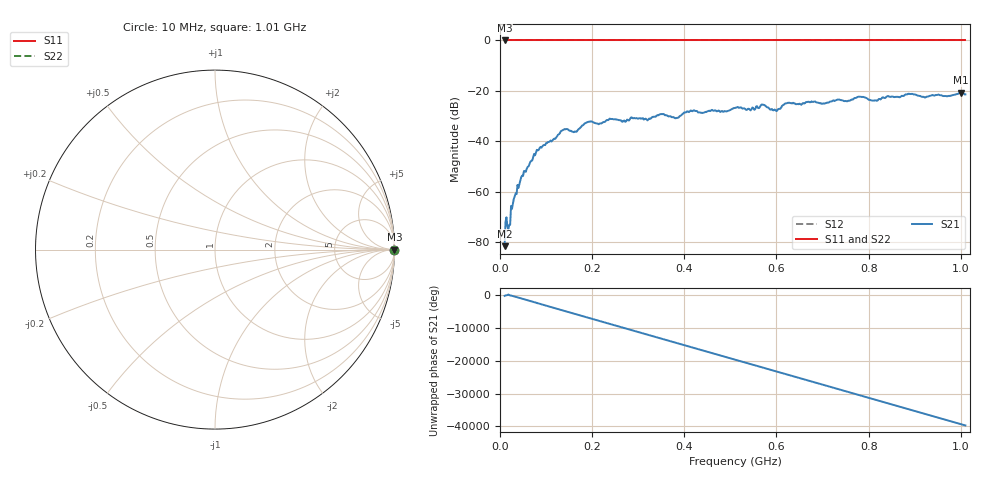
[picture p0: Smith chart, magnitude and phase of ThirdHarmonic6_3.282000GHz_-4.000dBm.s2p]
! 8/17/2025 10:10:55 AM
! C:\ANRITSUVNA\TEMP\TEMP.S2P
! CHANNEL.1
! TR.MEASUREMENT
! RAW.DATA
! RF.CORRECTION.OFF
! AVERAGING.OFF
! IF.BANDWIDTH: 5KHZ
! SWEEPTYPE:  FREQ.SWEEP(Linear)
! Reference Plane Port Info
! PORT:  PORT1  PORT2
! DISTANCE:  0  m  0  m
! TIME:  0  s  0  s
! PHASE.OFFSET:  0  deg.  0  deg.
! LOSS:  0  dB  0  dB
! REF.LOSS:  0  dB  0  dB
! REF.FREQ:  0  Hz  0  Hz
! Power Info
! POWER:  -20  dBm  -20  dBm
! EFF.POWER:  -20  dBm  -20  dBm
! SOURCE.ATTEN:  0  dB  0  dB
! TEST.ATTEN:  0  dB  0  dB
# GHZ S RI R 50.0
! FREQ.GHZ  S11RE  S11IM  S21RE  S21IM  S12RE  S12IM  S22RE  S22IM
!; PortSelection: Port_12
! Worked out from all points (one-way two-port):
!   501 points, 10 MHz to 1.01 GHz, reference 50 ohm
!   highest |S21| = -20.73 dB at 1 GHz (marker M1); lowest = -81.5 dB at 10 MHz (marker M2)
!   lowest |S11| = 0.0 dB at 10 MHz (marker M3)
!   |S11| at or under -10 dB: nowhere
!   |S22| runs from 0.0 to 0.0 dB; largest |S21 - S12| = 1.1
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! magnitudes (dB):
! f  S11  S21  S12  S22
! 10 MHz  0.0  -81.5  0.0  0.0
! 20 MHz  0.0  -73.1  0.0  0.0
! 28 MHz  0.0  -64.7  0.0  0.0
! 42 MHz  0.0  -57.0  0.0  0.0
! 78 MHz  0.0  -44.4  0.0  0.0
! 136 MHz  0.0  -35.6  0.0  0.0
! 162 MHz  0.0  -36.0  0.0  0.0
! 178 MHz  0.0  -33.7  0.0  0.0
! 194 MHz  0.0  -32.2  0.0  0.0
! 322 MHz  0.0  -31.3  0.0  0.0
! 344 MHz  0.0  -29.6  0.0  0.0
! 384 MHz  0.0  -30.7  0.0  0.0
! 418 MHz  0.0  -28.0  0.0  0.0
! 510 MHz  0.0  -26.7  0.0  0.0
! 570 MHz  0.0  -25.4  0.0  0.0
! 598 MHz  0.0  -27.6  0.0  0.0
! 624 MHz  0.0  -24.7  0.0  0.0
! 678 MHz  0.0  -24.3  0.0  0.0
! 816 MHz  0.0  -23.8  0.0  0.0
! 844 MHz  0.0  -22.2  0.0  0.0
! 1 GHz  0.0  -20.7  0.0  0.0
! 1.01 GHz  0.0  -21.4  0.0  0.0
